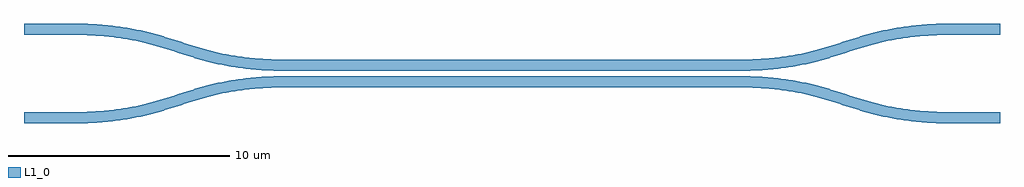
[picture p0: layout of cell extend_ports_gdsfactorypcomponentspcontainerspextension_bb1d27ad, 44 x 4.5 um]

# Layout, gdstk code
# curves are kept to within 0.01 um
from math import pi, radians
import gdstk
lib = gdstk.Library(unit=1e-6, precision=1e-09)
def R(c, l, rs):  # rectangles x0, y0, x1, y1
    for r in rs: c.add(gdstk.rectangle(r[:2], r[2:], *l))
def P(c, l, *ps):  # polygons
    for p in ps: c.add(gdstk.Polygon(p, *l))
L1_0 = (1, 0)

coupler_gdsfactorypcompo = lib.new_cell('coupler_gdsfactorypcomponentspcouplerspcoupler_G0p236_L_75dd060a')
P(coupler_gdsfactorypcompo, L1_0, [(-10,-1.882),(-10,-1.382),(-9.281,-1.37),(-8.633,-1.335),(-8.048,-1.281),(-7.417,-1.193),(-6.76,-1.065),(-6.249,-0.938),(-4.05,-0.258),(-3.532,-0.122),(-3.065,-0.019),(-2.346,0.103),(-1.652,0.182),(-1.011,0.226),(-0.303,0.248),(20,0.25),(21.144,0.219),(21.652,0.182),(22.346,0.103),(22.968,0),(23.349,-0.08),(24.296,-0.33),(26.086,-0.893),(26.76,-1.065),(27.222,-1.159),(27.938,-1.268),(28.511,-1.326),(29.146,-1.365),(30,-1.382),(30,-1.882),(28.856,-1.851),(27.877,-1.764),(27.032,-1.632),(26.291,-1.466),(25.544,-1.253),(23.994,-0.762),(23.059,-0.528),(22.583,-0.439),(22.062,-0.364),(21.489,-0.306),(20.854,-0.267),(20,-0.25),(-0.297,-0.252),(-0.986,-0.273),(-1.725,-0.327),(-2.483,-0.423),(-3.059,-0.528),(-3.994,-0.762),(-6.034,-1.397),(-6.744,-1.573),(-7.335,-1.686),(-7.877,-1.764),(-8.597,-1.834),(-9.264,-1.87)],
  [(0,0.486),(-0.736,0.498),(-1.403,0.534),(-2.123,0.604),(-2.665,0.682),(-3.256,0.795),(-3.796,0.925),(-4.456,1.115),(-6.086,1.629),(-6.586,1.76),(-7.126,1.877),(-7.83,1.99),(-8.511,2.062),(-9.146,2.101),(-10,2.118),(-10,2.618),(-9.264,2.606),(-8.597,2.57),(-7.877,2.5),(-7.335,2.422),(-6.744,2.309),(-6.204,2.179),(-5.544,1.989),(-3.914,1.475),(-3.414,1.344),(-2.874,1.227),(-2.17,1.114),(-1.489,1.042),(-0.854,1.003),(0,0.986),(20,0.986),(21.116,1.016),(22.17,1.114),(22.682,1.192),(23.24,1.303),(24.152,1.545),(25.95,2.11),(26.468,2.246),(27.032,2.368),(27.654,2.471),(28.348,2.55),(29.264,2.606),(30,2.618),(30,2.118),(29.146,2.101),(28.511,2.062),(27.938,2.004),(27.222,1.895),(26.76,1.801),(26.086,1.629),(24.296,1.066),(23.532,0.858),(23.065,0.755),(22.56,0.665),(22.009,0.591),(21.403,0.534),(20.736,0.498),(20,0.486)])

straight_gdsfactorypcomp = lib.new_cell('straight_gdsfactorypcomponentspwaveguidespstraight_L2_N_815d3d03')
R(straight_gdsfactorypcomp, L1_0, [(0,-0.25,2,0.25)])

extend_ports_gdsfactoryp = lib.new_cell('extend_ports_gdsfactorypcomponentspcontainerspextension_bb1d27ad')
extend_ports_gdsfactoryp.add(gdstk.Reference(coupler_gdsfactorypcompo, (0,0)))
extend_ports_gdsfactoryp.add(gdstk.Reference(straight_gdsfactorypcomp, (-10,-1.632), rotation=pi))
extend_ports_gdsfactoryp.add(gdstk.Reference(straight_gdsfactorypcomp, (-10,2.368), rotation=pi))
extend_ports_gdsfactoryp.add(gdstk.Reference(straight_gdsfactorypcomp, (30,2.368)))
extend_ports_gdsfactoryp.add(gdstk.Reference(straight_gdsfactorypcomp, (30,-1.632)))

lib.write_gds('extend_ports_gdsfactorypcomponentspcontainerspextension_bb1d27ad.gds')
